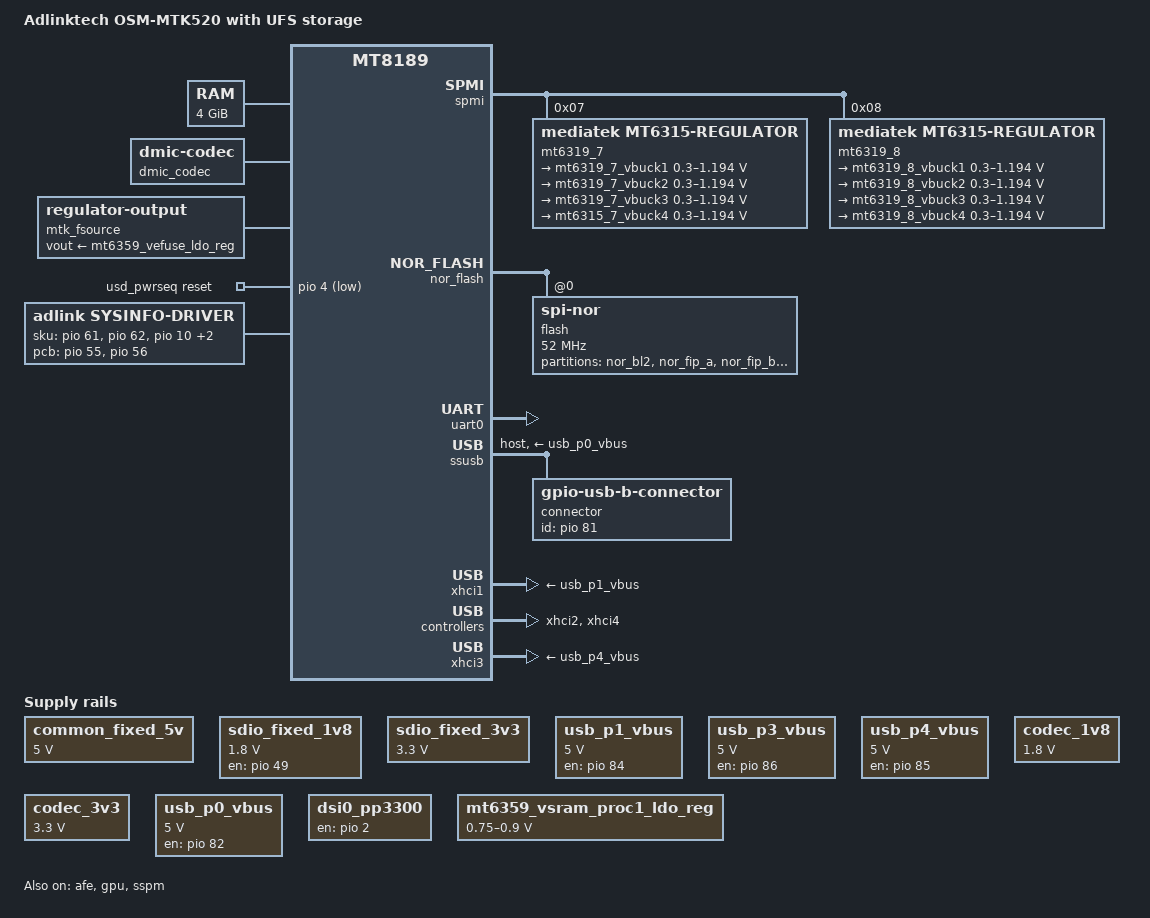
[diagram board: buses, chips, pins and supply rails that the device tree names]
// SPDX-License-Identifier: (GPL-2.0 OR MIT)
/*
 * Copyright (C) 2024 MediaTek Inc.
 * Author: Chris Chen <chris-qj.chen@mediatek.com>
 *	   Pablo Sun <pablo.sun@mediatek.com>
 *	   Macpaul Lin <macpaul.lin@mediatek.com>
 */
/dts-v1/;

#include "mt8189.dtsi"
#include <dt-bindings/gpio/gpio.h>
#include <dt-bindings/input/input.h>
#include <dt-bindings/interrupt-controller/irq.h>
#include <dt-bindings/regulator/mediatek,mt6360-regulator.h>
#include <dt-bindings/spmi/spmi.h>
#include <dt-bindings/usb/pd.h>
#include <dt-bindings/pinctrl/mt8189-pinfunc.h>
#include <dt-bindings/mfd/mt6375.h>
#include "mt6359.dtsi"

/ {
	model = "Adlinktech OSM-MTK520 with UFS storage";
	compatible = "mediatek,mt8391-evk", "mediatek,mt8391",
		     "mediatek,mt8189";

	aliases {
		ethernet0 = &eth;
		serial0 = &uart0;
	};

	backlight_lcd0: backlight-lcd0 {
		compatible = "pwm-backlight";
		pwms = <&disp_pwm0 0 500000>;
		brightness-levels = <0 1023>;
		num-interpolated-steps = <1023>;
		default-brightness-level = <576>;
		status = "disabled";
	};

	backlight_lcd1: backlight-lcd1 {
		compatible = "pwm-backlight";
		pwms = <&disp_pwm1 0 500000>;
		brightness-levels = <0 1023>;
		num-interpolated-steps = <1023>;
		default-brightness-level = <576>;
		status = "disabled";
	};

	chosen {
		stdout-path = "serial0:921600n8";
	};

	firmware {
		optee {
			compatible = "linaro,optee-tz";
			method = "smc";
		};

		scmi: scmi {
			compatible = "arm,scmi";
			mboxes = <&tinysys_mbox 0>, <&tinysys_mbox 1>;
			shmem = <&scmi_tx_shmem>, <&scmi_rx_shmem>;
			mbox-names = "tx", "rx";
			#address-cells = <1>;
			#size-cells = <0>;

			scmi_tinysys: protocol@80 {
				reg = <0x80>;
				scmi-mminfra = <5>;
				scmi-plt = <7>;
			};
		};
	};

	memory@40000000 {
		device_type = "memory";
		reg = <0 0x40000000 0x1 0x00000000>;
	};

	reserved-memory {
		#address-cells = <2>;
		#size-cells = <2>;
		ranges;

		/*
		 * 12 MiB reserved for OP-TEE (BL32)
		 * +-----------------------+ 0x43e0_0000
		 * |      SHMEM 2MiB       |
		 * +-----------------------+ 0x43c0_0000
		 * |        | TA_RAM  8MiB |
		 * + TZDRAM +--------------+ 0x4340_0000
		 * |        | TEE_RAM 2MiB |
		 * +-----------------------+ 0x4320_0000
		 */
		optee_reserved: optee@43200000 {
			no-map;
			reg = <0 0x43200000 0 0x00c00000>;
		};

		scp_mem: memory@50000000 {
			compatible = "shared-dma-pool";
			reg = <0 0x50000000 0 0x2900000>;
			no-map;
		};

		/* 2 MiB reserved for ARM Trusted Firmware (BL31) */
		bl31_secmon_reserved: secmon@54600000 {
			no-map;
			reg = <0 0x54600000 0x0 0x200000>;
		};

		apu_mem: memory@55000000 {
			compatible = "shared-dma-pool";
			reg = <0 0x55000000 0 0x1400000>; /* 20 MB */
		};

		vpu_mem: memory@57000000 {
			compatible = "shared-dma-pool";
			reg = <0 0x57000000 0 0x1400000>; /* 20 MB */
		};

		sspm_resv_mem: sspm-reserved-memory@5b000000 {
			compatible = "shared-dma-pool";
			reg = <0 0x5b000000 0 0x200000>; /* 2 MB */
			no-map;
		};

		afe_dma_mem_reserved: snd-dma-mem-region@60000000 {
			compatible = "shared-dma-pool";
			reg = <0 0x60000000 0 0x800000>; /* 8 MB */
			no-map;
		};
	};

	common_fixed_5v: regulator-0 {
		compatible = "regulator-fixed";
		regulator-name = "5v_en";
		regulator-min-microvolt = <5000000>;
		regulator-max-microvolt = <5000000>;
		enable-active-high;
		regulator-always-on;
	};

	sdio_fixed_1v8: regulator-3 {
		compatible = "regulator-fixed";
		regulator-name = "sdio_io";
		regulator-min-microvolt = <1800000>;
		regulator-max-microvolt = <1800000>;
		enable-active-high;
		startup-delay-us = <200000>;
		gpio = <&pio 49 0>;	/* chip SYSRST */
	};

	sdio_fixed_3v3: regulator-4 {
		compatible = "regulator-fixed";
		regulator-name = "sdio_card";
		regulator-min-microvolt = <3300000>;
		regulator-max-microvolt = <3300000>;
		enable-active-high;
	};

	usb_p1_vbus: regulator-5 {
		compatible = "regulator-fixed";
		regulator-name = "usb_p1_vbus";
		regulator-min-microvolt = <5000000>;
		regulator-max-microvolt = <5000000>;
		gpio = <&pio 84 GPIO_ACTIVE_HIGH>;
		enable-active-high;
		regulator-always-on;
	};

	usb_p3_vbus: regulator-6 {
		compatible = "regulator-fixed";
		regulator-name = "usb_p3_vbus";
		regulator-min-microvolt = <5000000>;
		regulator-max-microvolt = <5000000>;
		gpio = <&pio 86 0>;
		enable-active-high;
	};

	usb_p4_vbus: regulator-7 {
		compatible = "regulator-fixed";
		regulator-name = "usb_p4_vbus";
		regulator-min-microvolt = <5000000>;
		regulator-max-microvolt = <5000000>;
		gpio = <&pio 85 GPIO_ACTIVE_HIGH>;
		enable-active-high;
		regulator-always-on;
	};

	codec_1v8: codec-1v8 {
		compatible = "regulator-fixed";
		regulator-name = "codec-1v8";
		regulator-min-microvolt = <1800000>;
		regulator-max-microvolt = <1800000>;
		regulator-boot-on;
		regulator-always-on;
		enable-active-high;
	};

	codec_3v3: codec-3v3 {
		compatible = "regulator-fixed";
		regulator-name = "codec-3v3";
		regulator-min-microvolt = <3300000>;
		regulator-max-microvolt = <3300000>;
		regulator-boot-on;
		regulator-always-on;
		enable-active-high;
	};

	usb_p0_vbus: usb-p0-vbus {
		compatible = "regulator-fixed";
		regulator-name = "p0_vbus";
		regulator-min-microvolt = <5000000>;
		regulator-max-microvolt = <5000000>;
		gpio = <&pio 82 GPIO_ACTIVE_HIGH>;
		enable-active-high;
	};

	// amic_codec: amic-codec {
	// 	compatible = "dmic-codec";
	// 	#sound-dai-cells = <0>;
	// 	num-channels = <2>;
	// 	wakeup-delay-ms = <200>;
	// };

	dmic_codec: dmic-codec {
		compatible = "dmic-codec";
		#sound-dai-cells = <0>;
		num-channels = <2>;
		wakeup-delay-ms = <100>;
	};

	dsi0_pp3300: dsi0-pp3300 {
		compatible = "regulator-fixed";
		regulator-name = "lcm2_3v3_en";
		enable-active-high;
		gpio = <&pio 2 0>;
		pinctrl-names = "default";
		pinctrl-0 = <&dsi0_pp3300_pins_default>;
	};

	mtk_fsource: mtk-fsource {
		compatible = "regulator-output";
		vout-supply = <&mt6359_vefuse_ldo_reg>;
	};
	
	edp_panel_fixed_3v3: edp-panel-fixed-3v3 {
		compatible = "regulator-fixed";
		regulator-name = "edp_panel_3v3";
		regulator-min-microvolt = <3300000>;
		regulator-max-microvolt = <3300000>;
		enable-active-high;
		status = "disabled";
	};

	edp_panel_fixed_12v: edp-panel-fixed-12v {
		compatible = "regulator-fixed";
		regulator-name = "edp_backlight_12v";
		regulator-min-microvolt = <12000000>;
		regulator-max-microvolt = <12000000>;
		enable-active-high;
		status = "disabled";
	};

    leds {
        compatible = "gpio-leds";
    };

	usd_pwrseq: usd-pwrseq {
		compatible = "mmc-pwrseq-simple";
		status = "okay";
		pinctrl-names = "default";
		pinctrl-0 = <&usd_pins_pwrseq>;
		reset-gpios = <&pio 4 1>;
		post-power-on-delay-ms = <200>;
	};

	sysinfo {
        compatible = "adlink,sysinfo-driver";
        status = "okay";

        pinctrl-names = "default";
        pinctrl-0 = <&sysinfo_pins>;

        sku-gpios = <&pio 61 GPIO_ACTIVE_HIGH>,
                    <&pio 62 GPIO_ACTIVE_HIGH>,
                    <&pio 10 GPIO_ACTIVE_HIGH>,
                    <&pio 108 GPIO_ACTIVE_HIGH>,
                    <&pio 109 GPIO_ACTIVE_HIGH>;

        pcb-gpios = <&pio 55 GPIO_ACTIVE_HIGH>,
                    <&pio 56 GPIO_ACTIVE_HIGH>;

        skus {
            sku@0 {
                sku-id = <0>;
                sku-name = "OSM-MTK520-4G-64G-ER(000E)";
            };
            sku@4 {
                sku-id = <4>;
                sku-name = "OSM-MTK520-4G-64G-CT(100E)";
            };
            sku@5 {
                sku-id = <5>;
                sku-name = "OSM-MTK520-8G-64G-CT/NK(210E)";
            };
            sku@20 {
                sku-id = <20>;
                sku-name = "OSM-MTK720-4G-64G-ER(Z00E)";
            };
        };

        pcbs {
            pcb@0 {
                pcb-id = <0>;
                pcb-name = "PCB A1";
            };
            pcb@1 {
                pcb-id = <1>;
                pcb-name = "PCB A2";
            };
            pcb@2 {
                pcb-id = <2>;
                pcb-name = "PCB A3";
            };
            pcb@3 {
                pcb-id = <3>;
                pcb-name = "PCB A4";
            };
        };
    }; 



};


&efuse {
	/* custome data area:237-244 */
	/* Serial Number 237 */
	sn_part0: efuse-c_dat0 {
			reg = <0x510 0x4>;
	};

	/* Serial Number 238 */
	sn_part1: efuse-c_dat1 {
			reg = <0x514 0x4>;
	};
	/* MAC address 239 */
	mac_part0: efuse-c_dat2 {
			reg = <0x518 0x4>;
	};

	/* MAC address 240 */
	mac_part1: efuse-c_dat3 {
			reg = <0x51c 0x4>;
	};
};

&mt6359_vmodem_buck_reg {
	regulator-always-on;
};

&mt6359_vsram_proc2_ldo_reg {
	regulator-always-on;
};

&mt6359_vsram_md_ldo_reg {
	regulator-always-on;
};

&mt6359_vpu_buck_reg {
	regulator-always-on;
};

&mt6359_vgpu11_buck_reg{
	regulator-always-on;
};

&mt6359_vcore_buck_reg{
	regulator-always-on;
};

&mt6359_vproc1_buck_reg{
	/* The name "vgpu" is required by mtk-regulator-coupler */
	regulator-name = "vgpu";
	regulator-coupled-with = <&mt6359_vsram_proc1_ldo_reg>;
	regulator-coupled-max-spread = <6250>;
};

&mt6359_vproc2_buck_reg{
	regulator-always-on;
};

&mt6359_vaux18_ldo_reg{
	regulator-always-on;
};

&mt6359_vrf12_ldo_reg{
	regulator-always-on;
};

&mt6359_vufs_ldo_reg{
	regulator-always-on;
};

&mt6359_va09_ldo_reg{
	regulator-always-on;
};

&mt6359_vrfck_ldo_reg{
	regulator-always-on;
};

&mt6359_vbbck_ldo_reg{
	regulator-always-on;
};

&mt6359_vsram_others_ldo_reg{
	regulator-always-on;
};

&mt6359_vsram_proc1_ldo_reg{
	/delete-property/ regulator-always-on;
	/* The name "vsram_gpu" is required by mtk-regulator-coupler */
	regulator-name = "vsram_gpu";
	regulator-min-microvolt = <750000>;
	regulator-max-microvolt = <900000>;
	regulator-coupled-with = <&mt6359_vproc1_buck_reg>;
	regulator-coupled-max-spread = <6250>;
};

&spmi {

	mt6319_7: mt6319@7 {
		compatible = "mediatek,mt6315-regulator";
		reg = <0x7 SPMI_USID>;

		mt6319_7_regulator: mt6319-7-regulator {
			buck1-modeset-mask = <0x3>;

			mt6319_7_vbuck1: 7-vbuck1 {
				regulator-compatible = "vbuck1";
				regulator-name = "7_vbuck1";
				regulator-min-microvolt = <300000>;
				regulator-max-microvolt = <1193750>;
				regulator-enable-ramp-delay = <256>;
				regulator-allowed-modes = <0 1 2>;
			};
			mt6319_7_vbuck2: 7-vbuck2 {
				regulator-compatible = "vbuck2";
				regulator-name = "7_vbuck2";
				regulator-min-microvolt = <300000>;
				regulator-max-microvolt = <1193750>;
				regulator-enable-ramp-delay = <256>;
				regulator-allowed-modes = <0 1 2>;
			};
			mt6319_7_vbuck3: 7-vbuck3 {
				regulator-compatible = "vbuck3";
				regulator-name = "7_vbuck3";
				regulator-min-microvolt = <300000>;
				regulator-max-microvolt = <1193750>;
				regulator-enable-ramp-delay = <256>;
				regulator-allowed-modes = <0 1 2>;
				regulator-always-on;
			};
			mt6315_7_vbuck4: 7-vbuck4 {
				regulator-compatible = "vbuck4";
				regulator-name = "7_vbuck4";
				regulator-min-microvolt = <300000>;
				regulator-max-microvolt = <1193750>;
				regulator-enable-ramp-delay = <256>;
				regulator-allowed-modes = <0 1 2>;
				regulator-always-on;
			};
		};
	};

	mt6319_8: mt6319@8 {
		compatible = "mediatek,mt6315-regulator";
		reg = <0x8 SPMI_USID>;

		mt6319_8_regulator: mt6319-8-regulator {
			buck1-modeset-mask = <0xd>;

			mt6319_8_vbuck1: 8-vbuck1 {
				regulator-compatible = "vbuck1";
				regulator-name = "8_vbuck1";
				regulator-min-microvolt = <300000>;
				regulator-max-microvolt = <1193750>;
				regulator-enable-ramp-delay = <256>;
				regulator-allowed-modes = <0 1 2>;
				regulator-always-on;
			};
			mt6319_8_vbuck2: 8-vbuck2 {
				regulator-compatible = "vbuck2";
				regulator-name = "8_vbuck2";
				regulator-min-microvolt = <300000>;
				regulator-max-microvolt = <1193750>;
				regulator-enable-ramp-delay = <256>;
				regulator-allowed-modes = <0 1 2>;
				regulator-always-on;
			};
			mt6319_8_vbuck3: 8-vbuck3 {
				regulator-compatible = "vbuck3";
				regulator-name = "8_vbuck3";
				regulator-min-microvolt = <300000>;
				regulator-max-microvolt = <1193750>;
				regulator-enable-ramp-delay = <256>;
				regulator-allowed-modes = <0 1 2>;
				regulator-always-on;
			};
			mt6319_8_vbuck4: 8-vbuck4 {
				regulator-compatible = "vbuck4";
				regulator-name = "8_vbuck4";
				regulator-min-microvolt = <300000>;
				regulator-max-microvolt = <1193750>;
				regulator-enable-ramp-delay = <256>;
				regulator-allowed-modes = <0 1 2>;
				regulator-always-on;
			};
		};
	};

};

&pmic {
	interrupts-extended = <&pio 194 IRQ_TYPE_LEVEL_HIGH>;
};

&watchdog {
	/delete-property/ mediatek,disable-extrst;
};

&thermal_zones {
	soc_max {
		sustainable-power = <5000>;
	};
};

&dsi0 {
	status = "disabled";
	#address-cells = <1>;
	#size-cells = <0>;
	poweron-in-hs-mode = <0>;
};

&mipi_tx_config0 {
	status = "disabled";
};

&disp_pwm0 {
	pinctrl-names = "default";
	pinctrl-0 = <&disp_pwm0_pin_default>;
};

&pio {
	uart0_pins: uart0-pins {
		pins {
			pinmux = <PINMUX_GPIO31__FUNC_UTXD0>,
				 <PINMUX_GPIO32__FUNC_URXD0>;
			bias-pull-up;
		};
	};

	uart1_pins: uart1-pins {
		pins {
			pinmux = <PINMUX_GPIO33__FUNC_UTXD1>,
				 <PINMUX_GPIO34__FUNC_URXD1>;
			bias-pull-up;
		};
	};

	uart2_pins: uart2-pins {
		pins {
			pinmux = <PINMUX_GPIO35__FUNC_UTXD2>,
				 <PINMUX_GPIO36__FUNC_URXD2>;
			bias-pull-up;
		};
		rtscts-pins {
			pinmux = <PINMUX_GPIO16__FUNC_UCTS2>,
				 <PINMUX_GPIO17__FUNC_URTS2>;
		};
	};

	uart3_pins: uart3-pins {
		pins {
			pinmux = <PINMUX_GPIO37__FUNC_UTXD3>,
				 <PINMUX_GPIO38__FUNC_URXD3>;
			bias-pull-up;
		};
	};

	sysinfo_pins: sysinfo-pins {
		sku-pins {
			pinmux = <PINMUX_GPIO61__FUNC_GPIO61>,
					<PINMUX_GPIO62__FUNC_GPIO62>,
					<PINMUX_GPIO10__FUNC_GPIO10>,
					<PINMUX_GPIO108__FUNC_GPIO108>,
					<PINMUX_GPIO109__FUNC_GPIO109>;
			input-enable;
			// bias-pull-up;
			bias-disable;
		};
		pcb-pins {
			pinmux = <PINMUX_GPIO55__FUNC_GPIO55>,
					<PINMUX_GPIO56__FUNC_GPIO56>;
			input-enable;
			bias-disable;
		};
	};
	nor_pins_default: nor-default-pins {
		pins-ck-io {
			pinmux = <PINMUX_GPIO150__FUNC_SPINOR_CK>,
				 <PINMUX_GPIO152__FUNC_SPINOR_IO0>,
				 <PINMUX_GPIO153__FUNC_SPINOR_IO1>;
			drive-strength = <MTK_DRIVE_8mA>;
			bias-pull-down;
		};

		pins-cs {
			pinmux = <PINMUX_GPIO151__FUNC_SPINOR_CS>,
					<PINMUX_GPIO154__FUNC_SPINOR_IO2>,
					<PINMUX_GPIO155__FUNC_SPINOR_IO3>;
			drive-strength = <MTK_DRIVE_8mA>;
			bias-pull-up;
		};
	};

	i2c0_pins:i2c0{
		pins-bus{
			pinmux = <PINMUX_GPIO52__FUNC_SDA0>,
					<PINMUX_GPIO51__FUNC_SCL0>;
			bias-pull-up;
		};
	};

	i2c1_pins:i2c1{
		pins-bus{
			pinmux = <PINMUX_GPIO54__FUNC_SDA1>,
					<PINMUX_GPIO53__FUNC_SCL1>;
			bias-pull-up;
		};
	};


	i2c4_pins:i2c4{
		pins-bus{
			pinmux = <PINMUX_GPIO60__FUNC_SDA4>,
					<PINMUX_GPIO59__FUNC_SCL4>;
			bias-pull-up;
		};
	};

	i2c6_pins:i2c6{
		pins-bus{
			pinmux = <PINMUX_GPIO64__FUNC_SDA6>,
					<PINMUX_GPIO63__FUNC_SCL6>;
			bias-pull-up;
		};
	};

	i2c7_pins:i2c7{
		pins-bus{
			pinmux = <PINMUX_GPIO66__FUNC_SDA7>,
					<PINMUX_GPIO65__FUNC_SCL7>;
			bias-pull-up;
		};
	};

	i2c8_pins:i2c8{
		pins-bus{
			pinmux = <PINMUX_GPIO68__FUNC_SDA8>,
					<PINMUX_GPIO67__FUNC_SCL8>;
			bias-pull-up;
		};
	};

	pwm_pins: pwm-pins {
		pins {
			pinmux = <PINMUX_GPIO136__FUNC_PWM_0>,
					<PINMUX_GPIO137__FUNC_PWM_1>,
					<PINMUX_GPIO138__FUNC_PWM_2>;
		};
	};

	tpm_pins: tpm-pins {
        pins-rst {
            pinmux = <PINMUX_GPIO11__FUNC_GPIO11>;
            output-high;
        };
        pins-intr {
            pinmux = <PINMUX_GPIO12__FUNC_GPIO12>;
        };
    };

	eth_default_pins: eth-default-pins {
		txd-pins {
			pinmux = <PINMUX_GPIO119__FUNC_GBE_TXD3>,
				 <PINMUX_GPIO120__FUNC_GBE_TXD2>,
				 <PINMUX_GPIO121__FUNC_GBE_TXD1>,
				 <PINMUX_GPIO122__FUNC_GBE_TXD0>;
			drive-strength = <MTK_DRIVE_8mA>;
		};
		cc-pins {
			pinmux = <PINMUX_GPIO127__FUNC_GBE_TXC>,
				 <PINMUX_GPIO130__FUNC_GBE_TXEN>,
				 <PINMUX_GPIO129__FUNC_GBE_RXDV>,
				 <PINMUX_GPIO128__FUNC_GBE_RXC>;
			drive-strength = <MTK_DRIVE_8mA>;
		};
		rxd-pins {
			pinmux = <PINMUX_GPIO123__FUNC_GBE_RXD3>,
				 <PINMUX_GPIO124__FUNC_GBE_RXD2>,
				 <PINMUX_GPIO125__FUNC_GBE_RXD1>,
				 <PINMUX_GPIO126__FUNC_GBE_RXD0>;
			drive-strength = <MTK_DRIVE_8mA>;
		};
		mdio-pins {
			pinmux = <PINMUX_GPIO131__FUNC_GBE_MDC>,
				 <PINMUX_GPIO132__FUNC_GBE_MDIO>;
			drive-strength = <MTK_DRIVE_8mA>;
			input-enable;
		};
		phy_reset_pin {									
			pinmux = <PINMUX_GPIO14__FUNC_GPIO14>; 
            output-high;
		};
		phy_intr_pin {									
			pinmux = <PINMUX_GPIO115__FUNC_GPIO115>;
		};		
	};

	eth_sleep_pins: eth-sleep-pins {
		txd-pins {
			pinmux = <PINMUX_GPIO119__FUNC_GPIO119>,
				 <PINMUX_GPIO120__FUNC_GPIO120>,
				 <PINMUX_GPIO121__FUNC_GPIO121>,
				 <PINMUX_GPIO122__FUNC_GPIO122>;
		};
		cc-pins {
			pinmux = <PINMUX_GPIO127__FUNC_GPIO127>,
				 <PINMUX_GPIO130__FUNC_GPIO130>,
				 <PINMUX_GPIO129__FUNC_GPIO129>,
				 <PINMUX_GPIO128__FUNC_GPIO128>;
		};
		rxd-pins {
			pinmux = <PINMUX_GPIO123__FUNC_GPIO123>,
				 <PINMUX_GPIO124__FUNC_GPIO124>,
				 <PINMUX_GPIO125__FUNC_GPIO125>,
				 <PINMUX_GPIO126__FUNC_GPIO126>;
		};
		mdio-pins {
			pinmux = <PINMUX_GPIO131__FUNC_GPIO131>,
				 <PINMUX_GPIO132__FUNC_GPIO132>;
			input-disable;
			bias-disable;
		};
	};

	pcie_default_pins: pcie-default-pins {
		pins {
			pinmux = <PINMUX_GPIO48__FUNC_WAKEN>,
				 <PINMUX_GPIO49__FUNC_PERSTN>,
				 <PINMUX_GPIO50__FUNC_CLKREQN>;
			bias-pull-up;
		};

	};

	usb0_default_pins: usb0-default-pins {
		pins-vbus-valid {
			pinmux = <PINMUX_GPIO83__FUNC_VBUSVALID>;
		};
		pins-iddig {
			pinmux = <PINMUX_GPIO81__FUNC_IDDIG>;
			input-enable;
			bias-pull-up;
		};

		pins-vbus {
			pinmux = <PINMUX_GPIO82__FUNC_USB_DRVVBUS>;
			output-high;
		};
	};
	usd_pins_pwrseq: usdpwrseq {
		pins-usd-enable { 
			pinmux = <PINMUX_GPIO4__FUNC_GPIO4>;
			output-low;
		};
	};

	mmc1_pins_default: mmc1default {
		pins-cmd-dat {
			pinmux = <PINMUX_GPIO168__FUNC_MSDC1_CMD>,
				<PINMUX_GPIO170__FUNC_MSDC1_DAT0>,
				<PINMUX_GPIO171__FUNC_MSDC1_DAT1>,
				<PINMUX_GPIO172__FUNC_MSDC1_DAT2>,
				<PINMUX_GPIO173__FUNC_MSDC1_DAT3>;
			input-enable;
			drive-strength = <MTK_DRIVE_6mA>;
			bias-pull-up = <MTK_PUPD_SET_R1R0_01>;
		};
		pins-clk {
			pinmux = <PINMUX_GPIO169__FUNC_MSDC1_CLK>;
			drive-strength = <MTK_DRIVE_6mA>;
			bias-pull-down = <MTK_PUPD_SET_R1R0_10>;
		};
		pins-insert {
			pinmux = <PINMUX_GPIO3__FUNC_GPIO3>;
			bias-pull-up;
		};
	};

	mmc1_pins_uhs: mmc1@0{
		pins-cmd-dat {
			pinmux = <PINMUX_GPIO168__FUNC_MSDC1_CMD>,
				<PINMUX_GPIO170__FUNC_MSDC1_DAT0>,
				<PINMUX_GPIO171__FUNC_MSDC1_DAT1>,
				<PINMUX_GPIO172__FUNC_MSDC1_DAT2>,
				<PINMUX_GPIO173__FUNC_MSDC1_DAT3>;
			input-enable;
			drive-strength = <MTK_DRIVE_8mA>;
			bias-pull-up = <MTK_PUPD_SET_R1R0_01>;
		};
		pins-clk {
			pinmux = <PINMUX_GPIO169__FUNC_MSDC1_CLK>;
			drive-strength = <MTK_DRIVE_8mA>;
			bias-pull-down = <MTK_PUPD_SET_R1R0_10>;
		};
	};

	mmc2_pins_default: mmc2default {
		pins-clk {
			pinmux = <PINMUX_GPIO175__FUNC_MSDC2_CLK>;
			drive-strength = <MTK_DRIVE_4mA>;
			bias-pull-down = <MTK_PUPD_SET_R1R0_10>;
		};

		pins-cmd-dat {
			pinmux = <PINMUX_GPIO176__FUNC_MSDC2_DAT0>,
				<PINMUX_GPIO177__FUNC_MSDC2_DAT1>,
				<PINMUX_GPIO178__FUNC_MSDC2_DAT2>,
				<PINMUX_GPIO179__FUNC_MSDC2_DAT3>,
				<PINMUX_GPIO174__FUNC_MSDC2_CMD>;
			input-enable;
			drive-strength = <MTK_DRIVE_4mA>;
			bias-pull-up = <MTK_PUPD_SET_R1R0_01>;
		};
	};

	mmc2_pins_uhs: mmc2uhs {
		pins-clk {
			pinmux = <PINMUX_GPIO175__FUNC_MSDC2_CLK>;
			drive-strength = <MTK_DRIVE_6mA>;
			bias-pull-down = <MTK_PUPD_SET_R1R0_10>;
		};

		pins-cmd-dat {
			pinmux = <PINMUX_GPIO176__FUNC_MSDC2_DAT0>,
				<PINMUX_GPIO177__FUNC_MSDC2_DAT1>,
				<PINMUX_GPIO178__FUNC_MSDC2_DAT2>,
				<PINMUX_GPIO179__FUNC_MSDC2_DAT3>,
				<PINMUX_GPIO174__FUNC_MSDC2_CMD>;
			input-enable;
			drive-strength = <MTK_DRIVE_6mA>;
			bias-pull-up = <MTK_PUPD_SET_R1R0_01>;
		};
	};

	disp_pwm0_pin_default: disp-pwm0-pin-default {
		pins1 {
			pinmux = <PINMUX_GPIO29__FUNC_DISP_PWM0>;
			output-high;
		};
	};

	dsi0_pp3300_pins_default: dsi0-pp3300-pins-default {
		panel-en {
			pinmux = <PINMUX_GPIO2__FUNC_GPIO2>;
			output-high;
		};
	};
	
	dsi_panel_pins_default: dsi-panel-pins-default {
		pins-cmd-dat {
			pinmux = <PINMUX_GPIO25__FUNC_GPIO25>;
			output-high;
		};
		pins-te {
			pinmux = <PINMUX_GPIO26__FUNC_GPIO26>;
			input-enable;
		};
	};


	/* AUDIO GPIO standardization start */
	/* Audio I2S Interface */
	aud_gpio_i2sin0_off: aud-gpio-i2sin0-off {
		pins-cmd1-dat {
			pinmux = <PINMUX_GPIO103__FUNC_GPIO103>;
			input-enable;
			bias-pull-down;
		};

		pins-cmd2-dat {
			pinmux = <PINMUX_GPIO104__FUNC_GPIO104>;
			input-enable;
			bias-pull-down;
		};

		pins-cmd3-dat {
			pinmux = <PINMUX_GPIO105__FUNC_GPIO105>;
			input-enable;
			bias-pull-down;
		};

		pins-cmd4-dat {
			pinmux = <PINMUX_GPIO106__FUNC_GPIO106>;
			input-enable;
			bias-pull-down;
		};
	};

	aud_gpio_i2sin0_on: aud-gpio-i2sin0-on {
		pins-cmd1-dat {
			pinmux = <PINMUX_GPIO103__FUNC_I2SIN0_MCK>;
			input-schmitt-enable;
			bias-disable;
		};

		pins-cmd2-dat {
			pinmux = <PINMUX_GPIO104__FUNC_I2SIN0_BCK>;
			input-enable;
			bias-pull-down;
		};

		pins-cmd3-dat {
			pinmux = <PINMUX_GPIO105__FUNC_I2SIN0_LRCK>;
			input-enable;
			bias-pull-down;
		};

		pins-cmd4-dat {
			pinmux = <PINMUX_GPIO106__FUNC_I2SIN0_DI>;
			input-enable;
			bias-pull-down;
		};
	};

	aud_gpio_i2sin1_off: aud-gpio-i2sin1-off {
	// 	pins-cmd1-dat {
	// 		pinmux = <PINMUX_GPIO18__FUNC_GPIO18>;
	// 		input-enable;
	// 		bias-pull-down;
	// 	};

	// 	pins-cmd2-dat {
	// 		pinmux = <PINMUX_GPIO19__FUNC_GPIO19>;
	// 		input-enable;
	// 		bias-pull-down;
	// 	};

	// 	pins-cmd3-dat {
	// 		pinmux = <PINMUX_GPIO20__FUNC_GPIO20>;
	// 		input-enable;
	// 		bias-pull-down;
	// 	};

	// 	pins-cmd4-dat {
	// 		pinmux = <PINMUX_GPIO21__FUNC_GPIO21>;
	// 		input-enable;
	// 		bias-pull-down;
	// 	};
	};

	aud_gpio_i2sin1_on: aud-gpio-i2sin1-on {
	// 	pins-cmd1-dat {
	// 		pinmux = <PINMUX_GPIO18__FUNC_I2SIN1_MCK>;
	// 		input-schmitt-enable;
	// 		bias-disable;
	// 	};

	// 	pins-cmd2-dat {
	// 		pinmux = <PINMUX_GPIO19__FUNC_I2SIN1_BCK>;
	// 		input-enable;
	// 		bias-pull-down;
	// 	};

	// 	pins-cmd3-dat {
	// 		pinmux = <PINMUX_GPIO20__FUNC_I2SIN1_LRCK>;
	// 		input-enable;
	// 		bias-pull-down;
	// 	};

	// 	pins-cmd4-dat {
	// 		pinmux = <PINMUX_GPIO21__FUNC_I2SIN1_DI>;
	// 		input-enable;
	// 		bias-pull-down;
	// 	};
	};

	aud_gpio_i2sout0_off: aud-gpio-i2sout0-off {
		pins-cmd1-dat {
            pinmux = <PINMUX_GPIO103__FUNC_GPIO103>;
			input-enable;
			bias-pull-down;
		};

        pins-cmd2-dat {
            pinmux = <PINMUX_GPIO104__FUNC_GPIO104>;
			input-enable;
			bias-pull-down;
		};

		pins-cmd3-dat {
            pinmux = <PINMUX_GPIO105__FUNC_GPIO105>;
			input-enable;
			bias-pull-down;
		};

		pins-cmd4-dat {
			pinmux = <PINMUX_GPIO110__FUNC_GPIO110>;
			input-enable;
			bias-pull-down;
		};
    };
	aud_gpio_i2sout0_on: aud-gpio-i2sout0-on {
		pins-cmd1-dat {
            pinmux = <PINMUX_GPIO103__FUNC_I2SIN0_MCK>;
			input-schmitt-enable;
			bias-disable;
		};

        pins-cmd2-dat {
            pinmux = <PINMUX_GPIO104__FUNC_I2SIN0_BCK>;
			input-schmitt-enable;
            bias-pull-down;
		};

		pins-cmd3-dat {
            pinmux = <PINMUX_GPIO105__FUNC_I2SIN0_LRCK>;
			input-schmitt-enable;
            bias-pull-down;
		};

		pins-cmd4-dat {
			pinmux = <PINMUX_GPIO110__FUNC_I2SOUT0_DO>;
			input-schmitt-enable;
			bias-disable;
		};
	};

	/* Audio DMIC Interface */
	aud_gpio_ap_dmic_off: aud-gpio-ap-dmic-off {
		pins-cmd1-dat {
			pinmux = <PINMUX_GPIO111__FUNC_GPIO111>;
			input-enable;
			bias-pull-down;
		};
		pins-cmd2-dat {
			pinmux = <PINMUX_GPIO112__FUNC_GPIO112>;
			input-enable;
			bias-pull-down;
		};
	};

	aud_gpio_ap_dmic_on: aud-gpio-ap-dmic-on {
		pins-cmd1-dat {
			pinmux = <PINMUX_GPIO111__FUNC_DMIC0_CLK>;
			input-schmitt-enable;
			bias-disable;
		};
		pins-cmd2-dat {
			pinmux = <PINMUX_GPIO112__FUNC_DMIC0_DAT0>;
			input-schmitt-enable;
			bias-disable;
		};
	};

	/* Audio PCM Interface */
	aud_gpio_pcm_off: aud-gpio-pcm-off {
	// 	pins-cmd1-dat {
	// 		pinmux = <PINMUX_GPIO115__FUNC_GPIO115>;
	// 		input-enable;
	// 		bias-pull-down;
	// 	};
		// pins-cmd2-dat {
		// 	pinmux = <PINMUX_GPIO116__FUNC_GPIO116>;
		// 	input-enable;
		// 	bias-pull-down;
		// };
		// pins-cmd3-dat {
		// 	pinmux = <PINMUX_GPIO117__FUNC_GPIO117>;
		// 	input-enable;
		// 	bias-pull-down;
		// };
		// pins-cmd4-dat {
		// 	pinmux = <PINMUX_GPIO118__FUNC_GPIO118>;
		// 	input-enable;
		// 	bias-pull-down;
		// };
	};

	aud_gpio_pcm_on: aud-gpio-pcm-on {
		// pins-cmd1-dat {
		// 	pinmux = <PINMUX_GPIO115__FUNC_PCM0_CLK>;
		// 	input-schmitt-enable;
		// 	bias-disable;
		// };
		// pins-cmd2-dat {
		// 	pinmux = <PINMUX_GPIO116__FUNC_PCM0_SYNC>;
		// 	input-schmitt-enable;
		// 	bias-disable;
		// };
		// pins-cmd3-dat {
		// 	pinmux = <PINMUX_GPIO117__FUNC_PCM0_DI>;
		// 	input-schmitt-enable;
		// 	bias-disable;
		// };
		// pins-cmd4-dat {
		// 	pinmux = <PINMUX_GPIO118__FUNC_PCM0_DO>;
		// 	input-schmitt-enable;
		// 	bias-disable;
		// };
	};

	aud_gpio_pmic_off: aud-gpio-pmic-off {
		pins-cmd1-dat {
			pinmux = <PINMUX_GPIO97__FUNC_GPIO97>;
			input-enable;
			bias-pull-down;
		};
		pins-cmd2-dat {
			pinmux = <PINMUX_GPIO98__FUNC_GPIO98>;
			input-enable;
			bias-pull-down;
		};
		pins-cmd3-dat {
			pinmux = <PINMUX_GPIO99__FUNC_GPIO99>;
			input-enable;
			bias-pull-down;
		};
		pins-cmd4-dat {
			pinmux = <PINMUX_GPIO100__FUNC_GPIO100>;
			input-enable;
			bias-pull-down;
		};
		pins-cmd5-dat {
			pinmux = <PINMUX_GPIO101__FUNC_GPIO101>;
			input-enable;
			bias-pull-down;
		};
		pins-cmd6-dat {
			pinmux = <PINMUX_GPIO102__FUNC_GPIO102>;
			input-enable;
			bias-disable;
		};
	};

	aud_gpio_pmic_on: aud-gpio-pmic-on {
		pins-cmd1-dat {
			pinmux = <PINMUX_GPIO97__FUNC_AUD_CLK_MOSI>;
			input-schmitt-enable;
			bias-disable;
		};
		pins-cmd2-dat {
			pinmux = <PINMUX_GPIO98__FUNC_AUD_SYNC_MOSI>;
			input-schmitt-enable;
			bias-disable;
		};
		pins-cmd3-dat {
			pinmux = <PINMUX_GPIO99__FUNC_AUD_DAT_MOSI0>;
			input-schmitt-enable;
			bias-disable;
		};
		pins-cmd4-dat {
			pinmux = <PINMUX_GPIO100__FUNC_AUD_DAT_MOSI1>;
			input-schmitt-enable;
			bias-disable;
		};
		pins-cmd5-dat {
			pinmux = <PINMUX_GPIO101__FUNC_AUD_DAT_MISO0>;
			input-schmitt-enable;
			bias-disable;
		};
		pins-cmd6-dat {
			pinmux = <PINMUX_GPIO102__FUNC_AUD_DAT_MISO1>;
			input-schmitt-enable;
			bias-disable;
		};
	};

	/* AUDIO GPIO standardization end */

	spi0_pins: spi0-pins {
		pins-spi {
			pinmux = <PINMUX_GPIO69__FUNC_SPIM0_CSB>,
				<PINMUX_GPIO70__FUNC_SPIM0_CLK>,
				<PINMUX_GPIO71__FUNC_SPIM0_MO>,
				<PINMUX_GPIO72__FUNC_SPIM0_MI>;
			bias-disable;
		};
	};

	spi1_pins: spi1-pins {
		pins-spi {
			pinmux = <PINMUX_GPIO73__FUNC_SPIM1_CSB>,
				<PINMUX_GPIO74__FUNC_SPIM1_CLK>,
				<PINMUX_GPIO75__FUNC_SPIM1_MO>,
				<PINMUX_GPIO76__FUNC_SPIM1_MI>;
			bias-disable;
		};
	};

	spi2_pins: spi2-pins {
		pins-spi-bus {
			pinmux = <PINMUX_GPIO77__FUNC_SPIM2_CSB>,
				<PINMUX_GPIO78__FUNC_SPIM2_CLK>,
				<PINMUX_GPIO79__FUNC_SPIM2_MO>,
				<PINMUX_GPIO80__FUNC_SPIM2_MI>;	
				drive-strength = <MTK_DRIVE_6mA>;
		};
	};

	edp_pin: edp-pin-default {
		pins-cmd-dat {
			pinmux = <PINMUX_GPIO28__FUNC_EDP_TX_HPD>;
			bias-pull-up;
		};
	};

	disp_pwm1_pin_default: disp-pwm1-pin-default {
		pins1 {
			pinmux = <PINMUX_GPIO30__FUNC_DISP_PWM1>;
		};
	};
};




&nor_flash {
	pinctrl-names = "default";
	pinctrl-0 = <&nor_pins_default>;

	status = "okay";

	flash@0 {
		compatible = "jedec,spi-nor";
		reg = <0>;
		spi-max-frequency = <52000000>;
		spi-rx-bus-width = <4>;
		spi-tx-bus-width = <4>;
		partitions {
			compatible = "fixed-partitions";
			#address-cells = <1>;
			#size-cells = <1>;

			partition@0 {
				label = "nor_bl2";
				reg = <0x0 0x200000>;
				read-only;
			};

			partition@200000 {
				label = "nor_fip_a";
				reg = <0x200000 0x200000>;
				read-only;
			};

			partition@400000 {
				label = "nor_fip_b";
				reg = <0x400000 0x200000>;
				read-only;
			};

			partition@600000 {
				label = "nor_firmware_a";
				reg = <0x600000 0x200000>;
				read-only;
			};

			partition@800000 {
				label = "nor_nor_firmware_b";
				reg = <0x800000 0x200000>;
				read-only;
			};

			partition@a00000 {
				label = "nor_dramk";
				reg = <0xa00000 0x80000>;
				read-only;
			};

			partition@a80000 {
				label = "nor_misc";
				reg = <0xa80000 0x100000>;
				read-only;
			};

			partition@b80000 {
				label = "nor_bootassets";
				reg = <0xb80000 0x200000>;
			};

			partition@d80000 {
				label = "nor_env";
				reg = <0xd80000 0x200000>;
			};
		};
	};
};

&spi0 {
	pinctrl-0 = <&spi0_pins>;
	pinctrl-names = "default";
	mediatek,pad-select = <0>;
	status = "disabled";

};

&spi1 {
	pinctrl-0 = <&spi1_pins>;
	pinctrl-names = "default";
	mediatek,pad-select = <0>;
	status = "disabled";

};

&spi2 {
	pinctrl-0 = <&spi2_pins>;
	pinctrl-names = "default";
	#address-cells = <1>;
	#size-cells = <0>;
	status = "disabled";
};

/* console */ 
&uart0 {
	pinctrl-0 = <&uart0_pins>;
	pinctrl-names = "default";
	status = "okay";
};


&uart1 {
	pinctrl-0 = <&uart1_pins>;
	pinctrl-names = "default";
	status = "disabled";
};

&uart2 {
	pinctrl-0 = <&uart2_pins>;
	pinctrl-names = "default";
	status = "disabled";
};

&uart3 {
	pinctrl-0 = <&uart3_pins>;
	pinctrl-names = "default";
	status = "disabled";
};

&ssusb {
	vbus-supply = <&usb_p0_vbus>;
	pinctrl-names = "default";
	pinctrl-0 = <&usb0_default_pins>;
	vusb33-supply = <&mt6359_vusb_ldo_reg>;
	wakeup-source;
	maximum-speed = "high-speed";
	role-switch-default-mode = "host";
	dr_mode = "host";
	status = "okay";
	connector {
		compatible = "gpio-usb-b-connector", "usb-b-connector";
		type = "micro";
		id-gpios = <&pio 81 GPIO_ACTIVE_HIGH>;
	};
};

&xhci1 {
	vusb33-supply = <&mt6359_vusb_ldo_reg>;
	vbus-supply = <&usb_p1_vbus>;
	wakeup-source;
	status = "okay";
};

&xhci2 {
	wakeup-source;
	status = "okay";
};

&xhci3 {
	vusb33-supply = <&mt6359_vusb_ldo_reg>;
	vbus-supply = <&usb_p4_vbus>;
	wakeup-source;
	status = "okay";
};

&xhci4 {
	wakeup-source;
	status = "okay";
};

&i2c0{
	pinctrl-names = "default";
	pinctrl-0 = <&i2c0_pins>;
	clock-frequency = <400000>;
	status = "disabled";
};

&i2c1{
	pinctrl-names = "default";
	pinctrl-0 = <&i2c1_pins>;
	clock-frequency = <400000>;
	status = "disabled";
};

&i2c4{
	pinctrl-names = "default";
	pinctrl-0 = <&i2c4_pins>;
	clock-frequency = <400000>;
	status = "disabled";

};

&i2c6{
	pinctrl-names = "default";
	pinctrl-0 = <&i2c6_pins>;
	clock-frequency = <400000>;
	status = "disabled";
};

&i2c7{
	pinctrl-names = "default";
	pinctrl-0 = <&i2c7_pins>;
	clock-frequency = <400000>;
	status = "disabled";
};

&i2c8{
	pinctrl-names = "default";
	pinctrl-0 = <&i2c8_pins>;
	clock-frequency = <400000>;
	status = "disabled";
};

// to sd-card slot
&mmc1 {
	status = "disabled";
};


&mt6359_vpa_buck_reg {
	regulator-max-microvolt = <3000000>;
};

&mt6359_vsim1_ldo_reg {
	regulator-enable-ramp-delay = <480>;
};

// to wifi module SDIO interface
&mmc2 {
	status = "disabled";
	pinctrl-names = "default", "state_uhs";
	pinctrl-0 = <&mmc2_pins_default>;
	pinctrl-1 = <&mmc2_pins_uhs>;
	bus-width = <4>;
	max-frequency = <200000000>;
	cap-sd-highspeed;
	sd-uhs-sdr104;
	keep-power-in-suspend;
	wakeup-source;
	// cap-sdio-irq;
	mediatek,disable-single-burst;
	no-mmc;
	no-sd;
	non-removable;
	vmmc-supply = <&sdio_fixed_3v3>;
	vqmmc-supply = <&sdio_fixed_1v8>;
};


&eth {
	status = "disabled";
	// phy-mode ="rgmii-rxid";
	// phy-handle = <&ethernet_phy0>;
	// mediatek,tx-delay-ps = <2030>;
	// mediatek,mac-wol;
	// pinctrl-names = "default", "sleep";
	// pinctrl-0 = <&eth_default_pins>;
	// pinctrl-1 = <&eth_sleep_pins>;
	// nvmem-cells = <&mac_part0 &mac_part1>;
	// nvmem-cell-names = "mac-part0", "mac-part1";
	// mdio {
	// 	compatible = "snps,dwmac-mdio";
	// 	#address-cells = <1>;
	// 	#size-cells = <0>;
	// 	ethernet_phy0: ethernet-phy@5 {
	// 		compatible = "ethernet-phy-id001c.c916";
	// 		reg = <0x5>;
	// 	};
	// };
};

&auxadc {
	status = "disabled";
};

&pcie {
	pinctrl-names = "default";
	pinctrl-0 = <&pcie_default_pins>;
	status = "disabled";
};

&pciephy {
	status = "disabled";
};

&mt6359codec {
	mediatek,mic-type-0 = <1>;
	mediatek,mic-type-1 = <3>;
	mediatek,mic-type-2 = <1>;
};

&afe {
	memory-region = <&afe_dma_mem_reserved>;
	status = "okay";
};

&sound {
	compatible = "mediatek,mt8189-mt6359p-sound";
	model = "mt8391-evk";
	status = "okay";

	pinctrl-names = "aud-gpio-i2sin0-off",
		"aud-gpio-i2sin0-on",
		"aud-gpio-i2sin1-off",
		"aud-gpio-i2sin1-on",
		"aud-gpio-i2sout0-off",
		"aud-gpio-i2sout0-on",
		/*dmic*/
		"aud-gpio-ap-dmic-off",
		"aud-gpio-ap-dmic-on",
		/*pcm*/
		"aud-gpio-pcm-off",
		"aud-gpio-pcm-on",
		/* pmic */
		"aud-gpio-pmic-off",
		"aud-gpio-pmic-on";

	/* i2s */
	pinctrl-0 = <&aud_gpio_i2sin0_off>;
	pinctrl-1 = <&aud_gpio_i2sin0_on>;
	pinctrl-2 = <&aud_gpio_i2sin1_off>;
	pinctrl-3 = <&aud_gpio_i2sin1_on>;
	pinctrl-4 = <&aud_gpio_i2sout0_off>;
	pinctrl-5 = <&aud_gpio_i2sout0_on>;
	/* dmic */
	pinctrl-6 = <&aud_gpio_ap_dmic_off>;
	pinctrl-7 = <&aud_gpio_ap_dmic_on>;
	/* pcm */
	pinctrl-8 = <&aud_gpio_pcm_off>;
	pinctrl-9 = <&aud_gpio_pcm_on>;
	/* pmic */
	pinctrl-10 = <&aud_gpio_pmic_off>;
	pinctrl-11 = <&aud_gpio_pmic_on>;

	audio-routing = "I2SOUT0", "ETDMOUT_HP_PIN",
			"I2SIN1", "ETDMIN_SPK_PIN",
			"I2SIN0", "ETDMIN_HP_PIN",
			"AP DMIC Capture", "AP_DMIC0_PIN",
			"AP DMIC Capture", "MIC_BIAS_0",
			"PCM 0 Capture", "ETDMOUT_HDMI_PIN",
			"PCM 0 Playback", "ETDMOUT_HDMI_PIN",
			"ADDA Capture", "PMIC_CODEC_PIN",
			"ADDA Playback", "PMIC_CODEC_PIN";

	dai-link-0 {
		link-name = "AP_DMIC_BE";

		codec {
			sound-dai = <&dmic_codec>;
		};
	};

	dai-link-1 {
		link-name = "ADDA_BE";

		codec {
			sound-dai = <&pmic 0>, <&accdet>;
		};
	};

	dai-link-2 {
		link-name = "TDM_DPTX_BE";
		status = "disabled";

		codec {
			sound-dai = <&dp_tx>;
		};
	};
};

&gpu {
	mali-supply = <&mt6359_vproc1_buck_reg>;
	status = "okay";
};

&sspm {
	memory-region = <&sspm_resv_mem>;
	scmi = <&scmi>;
	mboxes = <&tinysys_mbox 0>;
	status = "okay";
};


&disp_pwm1 {
	status = "disabled";
	pinctrl-names = "default";
	pinctrl-0 = <&disp_pwm1_pin_default>;
};

&pwm {
	pinctrl-0 = <&pwm_pins>;
	pinctrl-names = "default";
	status = "disabled";
};

&auxadc {
	status = "disabled";
};
